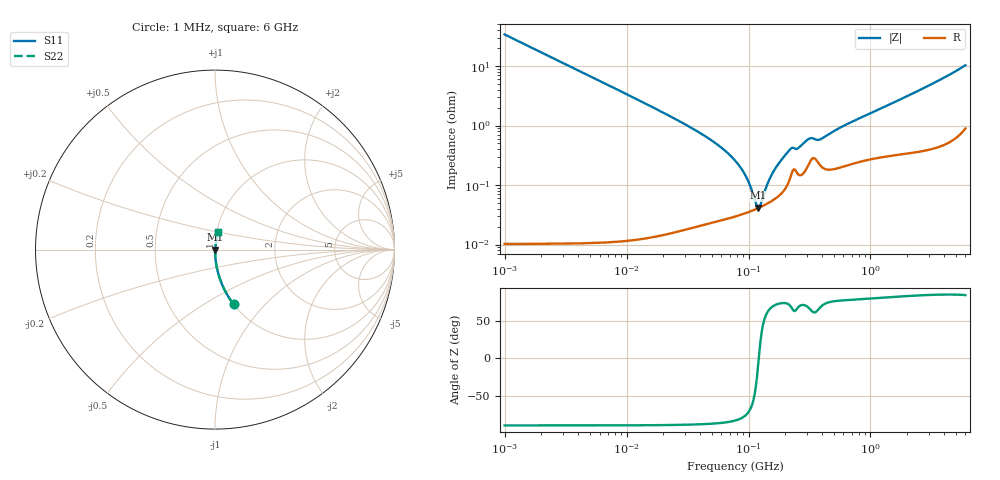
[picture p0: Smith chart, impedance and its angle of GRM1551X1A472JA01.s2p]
!Murata Part Number: GRM1551X1A472JA01
!These Parameters are Measured in Series Mode Connection
!Data Generated on Mar 30, 2021
!  o--ll--o
!Port1  Port2
!  o------o
!Operation Temp=25[degC], DC Bias Voltage=0[V]
!Freq. Start=1000[kHz] Stop=6[GHz] 401[Steps]
# Hz S RI R 50
!Freq.(Hz) S11(Real) S11(Imag) S21(Real) S21(Imag) S12(Real) S12(Imag) S22(Real) S22(Imag)
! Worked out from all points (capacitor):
!   401 points, 1 MHz to 6 GHz, reference 50 ohm
!   read as one part in series: C = 4.69 nF near 1.044 MHz
!   lowest |Z| = 41.5 mohm at 119.7 MHz (marker M1)
!   series resonance near 121.3 MHz, so ESL is about 370 pH
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1000000  0.1034 -0.3043  0.8966 0.3043  0.8966 0.3043  0.1034 -0.3043
2049734  0.0268 -0.1611  0.9732 0.1611  0.9732 0.1611  0.0268 -0.1611
4293785  0.0063 -0.0784  0.9937 0.0784  0.9937 0.0784  0.0063 -0.0784
1.843659e7  0.000461 -0.0179  0.9995 0.0179  0.9995 0.0179  0.000461 -0.0179
4.697123e7  0.000261 -0.00609  0.9997 0.00609  0.9997 0.00609  0.000261 -0.00609
6.23192e7  0.000276 -0.00397  0.9997 0.00397  0.9997 0.00397  0.000276 -0.00397
7.745967e7  0.000302 -0.00257  0.9997 0.00257  0.9997 0.00257  0.000302 -0.00257
9.627852e7  0.000343 -0.00129  0.9997 0.00129  0.9997 0.00129  0.000343 -0.00129
1.145757e8  0.000393 -0.000317  0.9996 0.000317  0.9996 0.000317  0.000393 -0.000317
1.196694e8  0.000408 -7.44e-05  0.9996 7.44e-05  0.9996 7.44e-05  0.000408 -7.44e-05
1.249896e8  0.000425 0.000168  0.9996 -0.000168  0.9996 -0.000168  0.000425 0.000168
1.424119e8  0.000488 0.000905  0.9995 -0.000905  0.9995 -0.000905  0.000488 0.000905
1.553559e8  0.000543 0.00141  0.9995 -0.00141  0.9995 -0.00141  0.000543 0.00141
1.930997e8  0.000793 0.00281  0.9992 -0.00281  0.9992 -0.00281  0.000793 0.00281
2.200158e8  0.00135 0.00378  0.9987 -0.00378  0.9987 -0.00378  0.00135 0.00378
2.561955e8  0.00151 0.00391  0.9985 -0.00391  0.9985 -0.00391  0.00151 0.00391
3.048839e8  0.00207 0.00539  0.9979 -0.00539  0.9979 -0.00539  0.00207 0.00539
3.325952e8  0.0028 0.00545  0.9972 -0.00545  0.9972 -0.00545  0.0028 0.00545
3.872876e8  0.00216 0.00545  0.9978 -0.00545  0.9978 -0.00545  0.00216 0.00545
6.11486e8  0.00216 0.00979  0.9978 -0.00979  0.9978 -0.00979  0.00216 0.00979
1.428092e9  0.00355 0.0222  0.9964 -0.0222  0.9964 -0.0222  0.00355 0.0222
6e9  0.0191 0.1  0.9809 -0.1  0.9809 -0.1  0.0191 0.1
